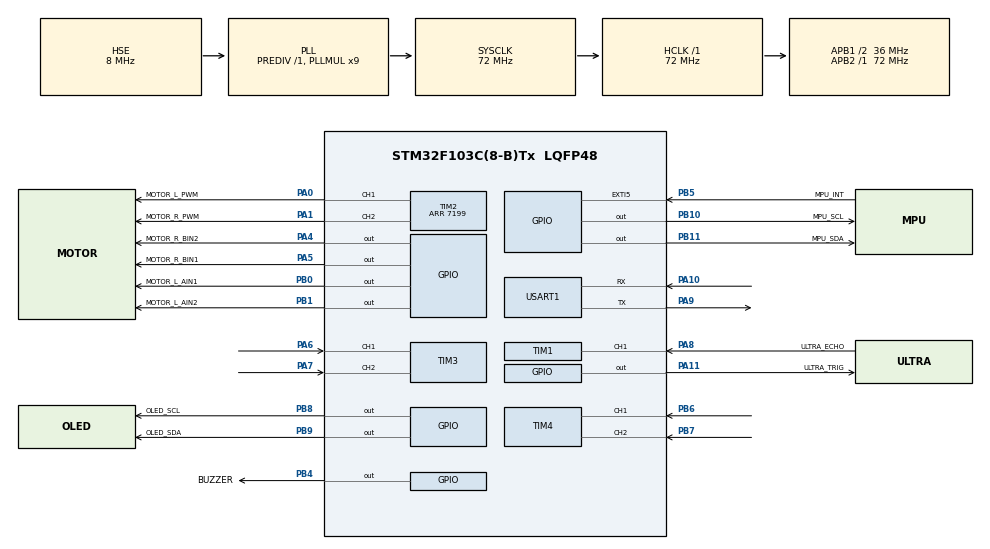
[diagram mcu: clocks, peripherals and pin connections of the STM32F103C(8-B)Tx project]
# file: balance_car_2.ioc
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Mcu.Family=STM32F1
Mcu.Name=STM32F103C(8-B)Tx
Mcu.Package=LQFP48
NVIC.EXTI9_5_IRQn=true\:0\:0\:false\:false\:true\:true\:true\:true
NVIC.PriorityGroup=NVIC_PRIORITYGROUP_4
NVIC.TIM1_CC_IRQn=true\:0\:0\:false\:false\:true\:true\:true\:true
NVIC.TIM1_UP_IRQn=true\:0\:0\:false\:false\:true\:true\:true\:true
NVIC.USART1_IRQn=true\:0\:0\:false\:false\:true\:true\:true\:true
PA0-WKUP.GPIO_Label=MOTOR_L_PWM
PA0-WKUP.Signal=S_TIM2_CH1_ETR
PA1.GPIO_Label=MOTOR_R_PWM
PA1.Signal=S_TIM2_CH2
PA10.Mode=Asynchronous
PA10.Signal=USART1_RX
PA11.GPIO_Label=ULTRA_TRIG
PA11.GPIO_Speed=GPIO_SPEED_FREQ_HIGH
PA11.PinState=GPIO_PIN_SET
PA11.Signal=GPIO_Output
PA13.Mode=Serial_Wire
PA13.Signal=SYS_JTMS-SWDIO
PA14.Mode=Serial_Wire
PA14.Signal=SYS_JTCK-SWCLK
PA4.GPIO_Label=MOTOR_R_BIN2
PA4.GPIO_Speed=GPIO_SPEED_FREQ_HIGH
PA4.PinState=GPIO_PIN_SET
PA4.Signal=GPIO_Output
PA5.GPIO_Label=MOTOR_R_BIN1
PA5.GPIO_Speed=GPIO_SPEED_FREQ_HIGH
PA5.PinState=GPIO_PIN_SET
PA5.Signal=GPIO_Output
PA6.Signal=S_TIM3_CH1
PA7.Signal=S_TIM3_CH2
PA8.GPIO_Label=ULTRA_ECHO
PA8.Signal=S_TIM1_CH1
PA9.Mode=Asynchronous
PA9.Signal=USART1_TX
PB0.GPIO_Label=MOTOR_L_AIN1
PB0.GPIO_Speed=GPIO_SPEED_FREQ_HIGH
PB0.PinState=GPIO_PIN_SET
PB0.Signal=GPIO_Output
PB1.GPIO_Label=MOTOR_L_AIN2
PB1.GPIO_Speed=GPIO_SPEED_FREQ_HIGH
PB1.PinState=GPIO_PIN_SET
PB1.Signal=GPIO_Output
PB10.GPIO_Label=MPU_SCL
PB10.GPIO_ModeDefaultOutputPP=GPIO_MODE_OUTPUT_OD
PB10.GPIO_PuPd=GPIO_PULLUP
PB10.GPIO_Speed=GPIO_SPEED_FREQ_HIGH
PB10.PinState=GPIO_PIN_SET
PB10.Signal=GPIO_Output
PB11.GPIO_Label=MPU_SDA
PB11.GPIO_ModeDefaultOutputPP=GPIO_MODE_OUTPUT_OD
PB11.GPIO_PuPd=GPIO_PULLUP
PB11.GPIO_Speed=GPIO_SPEED_FREQ_HIGH
PB11.PinState=GPIO_PIN_SET
PB11.Signal=GPIO_Output
PB4.GPIO_Label=BUZZER
PB4.GPIO_PuPd=GPIO_PULLUP
PB4.GPIO_Speed=GPIO_SPEED_FREQ_HIGH
PB4.PinState=GPIO_PIN_SET
PB4.Signal=GPIO_Output
PB5.GPIO_Label=MPU_INT
PB5.GPIO_ModeDefaultEXTI=GPIO_MODE_IT_FALLING
PB5.GPIO_PuPd=GPIO_PULLUP
PB5.Signal=GPXTI5
PB6.Signal=S_TIM4_CH1
PB7.Signal=S_TIM4_CH2
PB8.GPIO_Label=OLED_SCL
PB8.GPIO_PuPd=GPIO_PULLUP
PB8.GPIO_Speed=GPIO_SPEED_FREQ_HIGH
PB8.PinState=GPIO_PIN_SET
PB8.Signal=GPIO_Output
PB9.GPIO_Label=OLED_SDA
PB9.GPIO_ModeDefaultOutputPP=GPIO_MODE_OUTPUT_OD
PB9.GPIO_PuPd=GPIO_PULLUP
PB9.GPIO_Speed=GPIO_SPEED_FREQ_HIGH
PB9.PinState=GPIO_PIN_SET
PB9.Signal=GPIO_Output
PD0-OSC_IN.Mode=HSE-External-Oscillator
PD0-OSC_IN.Signal=RCC_OSC_IN
PD1-OSC_OUT.Mode=HSE-External-Oscillator
PD1-OSC_OUT.Signal=RCC_OSC_OUT
ProjectManager.HeapSize=0x200
ProjectManager.StackSize=0x400
ProjectManager.TargetToolchain=MDK-ARM V5.32
RCC.AHBFreq_Value=72000000
RCC.APB1CLKDivider=RCC_HCLK_DIV2
RCC.APB1Freq_Value=36000000
RCC.APB1TimFreq_Value=72000000
RCC.APB2Freq_Value=72000000
RCC.APB2TimFreq_Value=72000000
RCC.HCLKFreq_Value=72000000
RCC.PLLMUL=RCC_PLL_MUL9
RCC.PLLSourceVirtual=RCC_PLLSOURCE_HSE
RCC.SYSCLKFreq_VALUE=72000000
RCC.SYSCLKSource=RCC_SYSCLKSOURCE_PLLCLK
RCC.USBFreq_Value=72000000
SH.S_TIM1_CH1.0=TIM1_CH1,Input_Capture1_from_TI1
SH.S_TIM2_CH1_ETR.0=TIM2_CH1,PWM Generation1 CH1
SH.S_TIM2_CH2.0=TIM2_CH2,PWM Generation2 CH2
SH.S_TIM3_CH1.0=TIM3_CH1,Encoder_Interface
SH.S_TIM3_CH2.0=TIM3_CH2,Encoder_Interface
SH.S_TIM4_CH1.0=TIM4_CH1,Encoder_Interface
SH.S_TIM4_CH2.0=TIM4_CH2,Encoder_Interface
TIM1.Channel-Input_Capture1_from_TI1=TIM_CHANNEL_1
TIM1.Prescaler=71
TIM2.Channel-PWM\ Generation1\ CH1=TIM_CHANNEL_1
TIM2.Channel-PWM\ Generation2\ CH2=TIM_CHANNEL_2
TIM2.Period=7199
TIM3.EncoderMode=TIM_ENCODERMODE_TI12
TIM4.EncoderMode=TIM_ENCODERMODE_TI12
USART1.VirtualMode=VM_ASYNC
board=custom

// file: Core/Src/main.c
/* USER CODE BEGIN Header */
/**
  ******************************************************************************
  * @file           : main.c
  * @brief          : Main program body
  ******************************************************************************
  * @attention
  *
  * Copyright (c) 2026 STMicroelectronics.
  * All rights reserved.
  *
  * This software is licensed under terms that can be found in the LICENSE file
  * in the root directory of this software component.
  * If no LICENSE file comes with this software, it is provided AS-IS.
  *
  ******************************************************************************
  */
/* USER CODE END Header */
#include "main.h"
#include "tim.h"
#include "usart.h"
#include "gpio.h"

/* USER CODE BEGIN Includes */
#include "OLED.h"
#include "Motor.h"
#include "Encoder.h"
#include "Control.h"
#include "mpu6050.h"
#include "inv_mpu.h"
#include "inv_mpu_dmp_motion_driver.h"
#include "echo.h"
#include "uart.h"
#include <stdio.h>
#include <stdlib.h>
#include "sys.h"
#include "delay.h"
#include "Buzzer.h"
/* USER CODE END Includes */

/* USER CODE BEGIN PV */
extern int16_t test_cnt;
extern float Roll;
extern int16_t Get_EncoderL, Get_EncoderR;
extern int16_t Velocity_out;
extern float Distance;
/* USER CODE END PV */

void SystemClock_Config(void);

int main(void)
{
	int oled_cnt=0;

  /* MCU Configuration--------------------------------------------------------*/

  /* Reset of all peripherals, Initializes the Flash interface and the Systick. */
  HAL_Init();

  /* Configure the system clock */
  SystemClock_Config();

  /* Initialize all configured peripherals */
  MX_GPIO_Init();
  MX_TIM1_Init();
  MX_TIM2_Init();
  MX_TIM3_Init();
  MX_TIM4_Init();
  MX_USART1_UART_Init();
  /* USER CODE BEGIN 2 */

  delay_init(72);
  OLED_Init();
  OLED_ShowString(1, 1, (uint8_t *)"System Init...", 16);

  Motor_Init();
  PWM_Init();
  Encoder_TIM3_Init();
  Encoder_TIM4_Init();
  echo_init();
  Buzzer_Init();

  HAL_NVIC_DisableIRQ(EXTI9_5_IRQn);
  /* === 面试解析 ===
   * 为什么这里要禁用外部中断�?
   * 因为接下来要初始�? MPU6050 �? DMP 固件，需要极速且纯净的软�? I2C 时序�?
   * 如果不关闭，此时超声波或串口中断打断时序，会导致 DMP 初始化直接失败�??
   */

  OLED_ShowString(1, 3, (uint8_t *)"Start DMP...  ", 16);
  uint8_t mpu_err = mpu_dmp_init();

  if(mpu_err == 0)
  {
      OLED_ShowString(1, 3, (uint8_t *)"MPU OK!       ", 16);
  }
  else
  {
      OLED_ShowString(1, 3, (uint8_t *)"DMP ERR: ", 16);
      OLED_ShowNum(75, 3, mpu_err, 2, 16);
      while(1);
      /* === 面试解析 ===
       * 死循环保护�?�如�? MPU6050 损坏或接线松动，程序死在这里，防止小车乱跑伤人�??
       */
  }

  HAL_Delay(1000);
  OLED_Clear();

  /* USER CODE END 2 */

  /* Infinite loop */
  while (1)
  {

    /* USER CODE BEGIN 3 */

      // 1. 极�?�执行控制环（绝对不被干扰）
      Control_Loop();

//      // 2. 测距降频：每 50 次循环（大概 100ms）测�?次距�?
//      echo_cnt++;
//      if (echo_cnt >= 50) {
//          echo_cnt = 0;
//          echo_value_get();
//      }

      // 3. 屏幕刷新
      oled_cnt++;
      if (oled_cnt >= 200)
      {
          oled_cnt = 0;

          OLED_ShowString(1, 1, (uint8_t *)"Roll:", 16);
          if (Roll < 0) {
              OLED_ShowString(48, 1, (uint8_t *)"-", 16);
              OLED_ShowNum(56, 1, (uint32_t)(-Roll), 3, 16);
          } else {
              OLED_ShowString(48, 1, (uint8_t *)"+", 16);
              OLED_ShowNum(56, 1, (uint32_t)(Roll), 3, 16);
          }

          OLED_ShowString(1, 3, (uint8_t *)"Dist:", 16);
          OLED_ShowNum(48, 3, (uint32_t)(Distance * 100), 3, 16);
          OLED_ShowString(80, 3, (uint8_t *)"cm", 16);
      }

      HAL_Delay(2);
      /* === 面试解析 ===
       * 这个 while(1) 架构非常优秀。采用了“时间片轮询”的思想�?
       * 控制环（Control_Loop）是�?高优先级，每次必执行�?
       * 屏幕和超声波是�?�时大户，利用计数器进行降频（分频）执行，确保不会拖慢控制环�?
       * �?后的 HAL_Delay(2) 既给�? CPU 喘息的空闲，又固定了系统的基�?节拍�?500Hz）�??
       */

  /* USER CODE END 3 */
		}

}

void SystemClock_Config(void)
{
  RCC_OscInitTypeDef RCC_OscInitStruct = {0};
  RCC_ClkInitTypeDef RCC_ClkInitStruct = {0};

  /** Initializes the RCC Oscillators according to the specified parameters
  * in the RCC_OscInitTypeDef structure.
  */
  RCC_OscInitStruct.OscillatorType = RCC_OSCILLATORTYPE_HSE;
  RCC_OscInitStruct.HSEState = RCC_HSE_ON;
  RCC_OscInitStruct.HSEPredivValue = RCC_HSE_PREDIV_DIV1;
  RCC_OscInitStruct.HSIState = RCC_HSI_ON;
  RCC_OscInitStruct.PLL.PLLState = RCC_PLL_ON;
  RCC_OscInitStruct.PLL.PLLSource = RCC_PLLSOURCE_HSE;
  RCC_OscInitStruct.PLL.PLLMUL = RCC_PLL_MUL9;
  if (HAL_RCC_OscConfig(&RCC_OscInitStruct) != HAL_OK)
  {
    Error_Handler();
  }

  /** Initializes the CPU, AHB and APB buses clocks
  */
  RCC_ClkInitStruct.ClockType = RCC_CLOCKTYPE_HCLK|RCC_CLOCKTYPE_SYSCLK
                              |RCC_CLOCKTYPE_PCLK1|RCC_CLOCKTYPE_PCLK2;
  RCC_ClkInitStruct.SYSCLKSource = RCC_SYSCLKSOURCE_PLLCLK;
  RCC_ClkInitStruct.AHBCLKDivider = RCC_SYSCLK_DIV1;
  RCC_ClkInitStruct.APB1CLKDivider = RCC_HCLK_DIV2;
  RCC_ClkInitStruct.APB2CLKDivider = RCC_HCLK_DIV1;

  if (HAL_RCC_ClockConfig(&RCC_ClkInitStruct, FLASH_LATENCY_2) != HAL_OK)
  {
    Error_Handler();
  }
}

void Error_Handler(void)
{
  __disable_irq();
  while (1)
  {
  }
}
